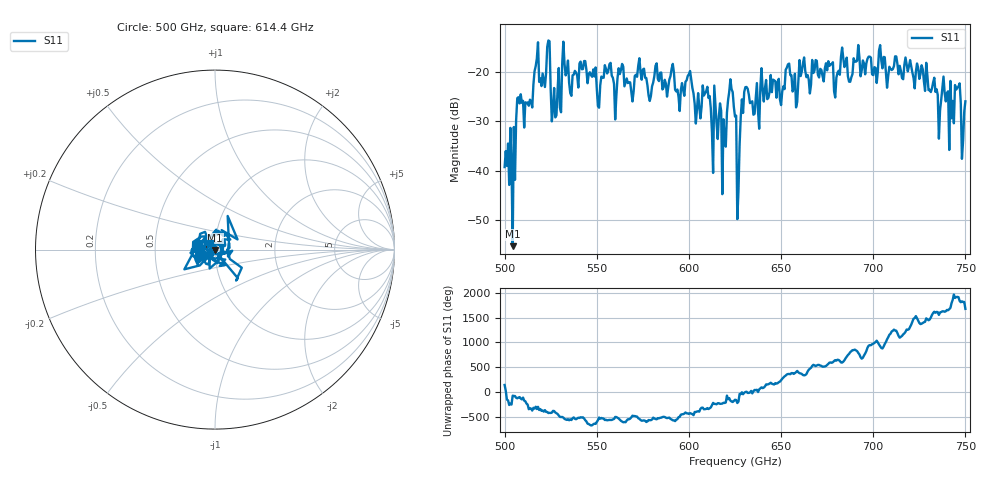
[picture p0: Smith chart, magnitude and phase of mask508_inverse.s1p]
!Created with skrf (http://scikit-rf.org).
# GHz S MA R 50.0
!freq magS11 angS11
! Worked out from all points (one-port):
!   401 points, 500 GHz to 750 GHz, reference 50 ohm
!   lowest |S11| = -55.3 dB at 504.4 GHz (marker M1), VSWR 1.00, Z = 50.1 - j0.157 ohm
!   |S11| at or under -10 dB: start of sweep to end of sweep
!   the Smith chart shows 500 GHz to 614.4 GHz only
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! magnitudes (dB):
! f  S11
! 500 GHz  -39.3
! 504.4 GHz  -55.3
! 507.5 GHz  -25.1
! 513.8 GHz  -25.6
! 516.9 GHz  -18.8
! 520.6 GHz  -20.3
! 523.8 GHz  -13.6
! 526.9 GHz  -23.2
! 531.2 GHz  -18.3
! 556.2 GHz  -19.8
! 560 GHz  -29.6
! 562.5 GHz  -20.4
! 578.8 GHz  -25.9
! 590.6 GHz  -19.3
! 593.8 GHz  -23.6
! 608.8 GHz  -24.4
! 619.4 GHz  -33.4
! 622.5 GHz  -21.5
! 625 GHz  -29.1
! 627.5 GHz  -34.7
! 629.4 GHz  -28.3
! 631.2 GHz  -23.0
! 656.2 GHz  -24.0
! 680 GHz  -21.2
! 683.8 GHz  -17.2
! 687.5 GHz  -22.0
! 718.8 GHz  -19.9
! 750 GHz  -26.0
